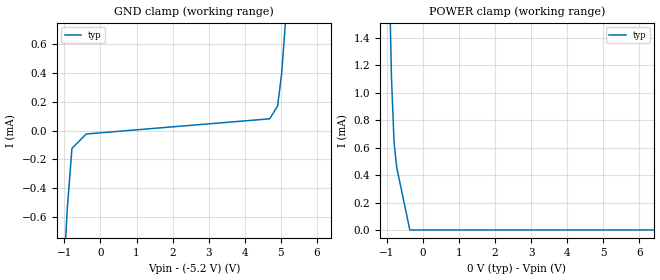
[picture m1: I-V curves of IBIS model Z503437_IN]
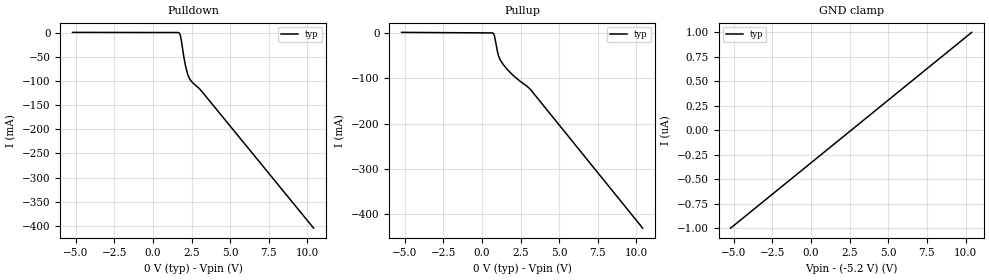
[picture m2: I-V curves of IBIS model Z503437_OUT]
| YOU ARE ONLY AUTHORIZED TO USE THIS SOFTWARE
| ACCORDING TO LICENSOR'S LICENSE RESTRICTIONS.
[IBIS Ver] 3.1
[File Name] mc10h105l.ibs
[File Rev] 2.0
[Source] Measured and created by ICX Technology
[Date] Friday 7/14/00 9:07:50 AM
[Copyright]
| (C) COPYRIGHT 1993-2000
| MENTOR GRAPHICS CORPORATION
| ICX STANDARD LIBRARY, ICX PROJECT MODELING,
| ICX CUSTOM MODELING, ICX VENDOR MODEL
| ALL RIGHTS RESERVED.
| THE FOLLOWING ARE TRADEMARKS OR SERVICE MARKS OF
| MENTOR GRAPHICS CORPORATION:ICX (R), ICX STANDARD
| LIBRARY(R), ICX PROJECT MODELING(R), ICX CUSTOM
| MODELING(R), qualityIBIS(TM), MODELVIEWER(TM),
| AND MODELEDITOR(TM)
| ALL COPIES OF SOFTWARE, INCLUDING BUT NOT LIMITED TO
| ANY MODIFICATIONS, ENHANCEMENTS OR DERIVATIVE WORKS,
| MUST CONTAIN ALL MENTOR GRAPHICS CORPORATION'S
| NOTICES AND LEGENDS, INCLUDING THOSE EMBEDDED IN
| SOFTWARE AND THOSE AFFIXED TO SOFTWARE MEDIUM
| AND CONTAINER, AS RECEIVED FROM MENTOR GRAPHICS
| CORPORATION.
|  ZAP Model Builder 2.7
[Component] MC10H105L
[Manufacturer] OnSemiconductor
[Package]
| variable   typ   min   max
R_pkg  .212ohms NA NA
L_pkg  4.758nH NA NA
C_pkg  1.944pF NA NA
[Pin] signal_name  model_name  R_pin  L_pin C_pin
1 VCC1 POWER .224 7.258n 2.683p
2 AOUT Z503437_OUT .216 5.258n 2.19p
3 _AOUT Z503437_OUT .208 3.758n 1.697p
4 AIN Z503437_IN .2 2.758n 1.204p
5 AIN Z503437_IN .2 2.758n 1.204p
6 _BOUT Z503437_OUT .208 3.758n 1.697p
7 BOUT Z503437_OUT .216 5.258n 2.19p
8 VEE POWER .224 7.258n 2.683p
9 BIN Z503437_IN .224 7.258n 2.683p
10 BIN Z503437_IN .216 5.258n 2.19p
11 BIN Z503437_IN .208 3.758n 1.697p
12 CIN Z503437_IN .2 2.758n 1.204p
13 CIN Z503437_IN .2 2.758n 1.204p
14 _COUT Z503437_OUT .208 3.758n 1.697p
15 COUT Z503437_OUT .216 5.258n 2.19p
16 VCC2 POWER .224 7.258n 2.683p
| Models and submodels in the file (2): Z503437_IN (Input_ECL), Z503437_OUT (Output_ECL)
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| (C) COPYRIGHT 1993-2000
| MENTOR GRAPHICS CORPORATION
| ICX STANDARD LIBRARY, ICX PROJECT MODELING,
| ICX CUSTOM MODELING, ICX VENDOR MODEL
| ALL RIGHTS RESERVED.
| THE FOLLOWING ARE TRADEMARKS OR SERVICE MARKS OF
| MENTOR GRAPHICS CORPORATION:ICX (R), ICX STANDARD
| LIBRARY(R), ICX PROJECT MODELING(R), ICX CUSTOM
| MODELING(R), qualityIBIS(TM), MODELVIEWER(TM),
| AND MODELEDITOR(TM)
| ALL COPIES OF SOFTWARE, INCLUDING BUT NOT LIMITED TO
| ANY MODIFICATIONS, ENHANCEMENTS OR DERIVATIVE WORKS,
| MUST CONTAIN ALL MENTOR GRAPHICS CORPORATION'S
| NOTICES AND LEGENDS, INCLUDING THOSE EMBEDDED IN
| SOFTWARE AND THOSE AFFIXED TO SOFTWARE MEDIUM
| AND CONTAINER, AS RECEIVED FROM MENTOR GRAPHICS
| CORPORATION.
| Model Application Version 1.89 2/18/99.
[Model] Z503437_IN
Model_type Input_ECL
Vinl = -1.480V
Vinh = -1.130V
C_comp 4.000pF NA NA
| variable typ   min   max
[Voltage Range] -5.200V NA NA
[GND Clamp Reference] -5.200V NA NA
[POWER Clamp Reference] 0.000V NA NA
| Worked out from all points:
|   POWER clamp passes 1 mA (typ) near -0.86 V on its own axis
[GND Clamp]
-5.2V     -20.77mA   NA         NA
-923mV    -550.1uA   NA         NA
-791mV    -123.9uA   NA         NA
-395.5mV  -23.95uA   NA         NA
4.692V    81.07uA    NA         NA
4.912V    169.5uA    NA         NA
5.026V    396.2uA    NA         NA
10.4V     18.82mA    NA         NA
[POWER Clamp]
-5.2V     109.4mA    NA         NA
-2.281V   22.73mA    NA         NA
-2.251V   22.2mA     NA         NA
-2.227V   22.13mA    NA         NA
-2.197V   21.76mA    NA         NA
-2.07V    19.04mA    NA         NA
-1.084V   3.701mA    NA         NA
-874mV    1.115mA    NA         NA
-801.9mV  637uA      NA         NA
-729.2mV  457.3uA    NA         NA
-364.6mV  0A         NA         NA
10.4V     0A         NA         NA
| (C) COPYRIGHT 1993-2000
| MENTOR GRAPHICS CORPORATION
| ICX STANDARD LIBRARY, ICX PROJECT MODELING,
| ICX CUSTOM MODELING, ICX VENDOR MODEL
| ALL RIGHTS RESERVED.
| THE FOLLOWING ARE TRADEMARKS OR SERVICE MARKS OF
| MENTOR GRAPHICS CORPORATION:ICX (R), ICX STANDARD
| LIBRARY(R), ICX PROJECT MODELING(R), ICX CUSTOM
| MODELING(R), qualityIBIS(TM), MODELVIEWER(TM),
| AND MODELEDITOR(TM)
| ALL COPIES OF SOFTWARE, INCLUDING BUT NOT LIMITED TO
| ANY MODIFICATIONS, ENHANCEMENTS OR DERIVATIVE WORKS,
| MUST CONTAIN ALL MENTOR GRAPHICS CORPORATION'S
| NOTICES AND LEGENDS, INCLUDING THOSE EMBEDDED IN
| SOFTWARE AND THOSE AFFIXED TO SOFTWARE MEDIUM
| AND CONTAINER, AS RECEIVED FROM MENTOR GRAPHICS
| CORPORATION.
| Model Application Version 1.89 2/18/99.
[Model] Z503437_OUT
Model_type Output_ECL
Vref=-2.000V
Rref=50.00ohms
Cref=0.000F
Vmeas=-1.305V
C_comp 8.000pF NA NA
| variable typ   min   max
[Voltage Range] -5.200V NA NA
[POWER Clamp Reference] 0.000V NA NA
[Pullup Reference] 0.000V NA NA
[Pulldown Reference] 0.000V NA NA
[GND Clamp Reference] -5.200V NA NA
[GND Clamp]
-5.2V     -1uA       NA         NA
10.4V     1uA        NA         NA
[Pulldown]
-5.2V     381.5uA    NA         NA
1.704V    -908.1uA   NA         NA
1.779V    -6.258mA   NA         NA
1.831V    -14.32mA   NA         NA
2.007V    -50.98mA   NA         NA
2.107V    -68.19mA   NA         NA
2.247V    -85.88mA   NA         NA
2.362V    -94.85mA   NA         NA
2.49V     -100.8mA   NA         NA
3.134V    -120.4mA   NA         NA
10.4V     -404.4mA   NA         NA
[Pullup]
-5.2V     1.093mA    NA         NA
728.4mV   -859.6uA   NA         NA
766.6mV   -2.438mA   NA         NA
820mV     -7.8mA     NA         NA
1.002V    -40.58mA   NA         NA
1.069V    -50.09mA   NA         NA
1.163V    -58.27mA   NA         NA
1.333V    -67.77mA   NA         NA
1.636V    -80.71mA   NA         NA
2.021V    -93.88mA   NA         NA
3.129V    -124.4mA   NA         NA
10.4V     -430.9mA   NA         NA
[POWER Clamp]
-5.2V     0A         NA         NA
10.4V     0A         NA         NA
[Ramp]
| variable typ min max
dV/dt_r 518.0m/897.2p NA NA
dV/dt_f 518.0m/637.8p NA NA
R_load = 50.00Ohms
